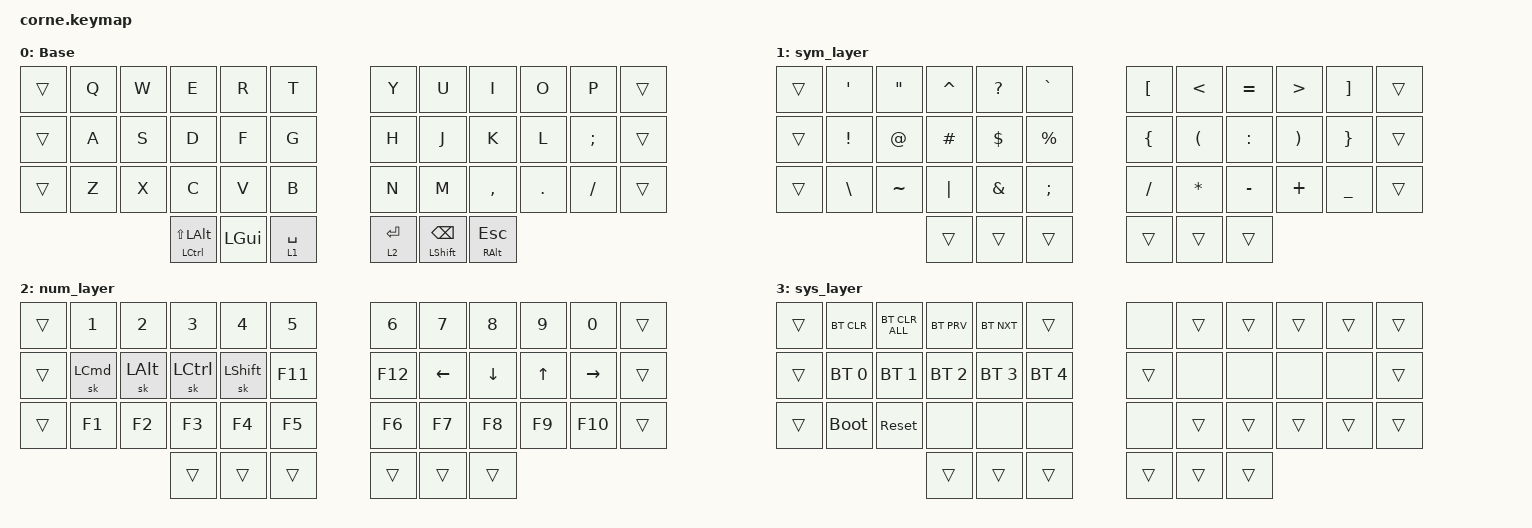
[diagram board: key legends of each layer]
/*
 * Copyright (c) 2020 The ZMK Contributors
 *
 * SPDX-License-Identifier: MIT
 */

#include <behaviors.dtsi>
#include <dt-bindings/zmk/bt.h>
#include <dt-bindings/zmk/keys.h>

/ {
    combos {
        compatible = "zmk,combos";

        system_layer_combo {
            bindings = <&mo 3>;
            key-positions = <36 37 38>;
        };
    };

    conditional_layers { compatible = "zmk,conditional-layers"; };

    keymap {
        compatible = "zmk,keymap";

        Base {
            bindings = <
&trans  &kp Q  &kp W  &kp E                          &kp R         &kp T          &kp Y        &kp U                     &kp I              &kp O    &kp P     &trans
&trans  &kp A  &kp S  &kp D                          &kp F         &kp G          &kp H        &kp J                     &kp K              &kp L    &kp SEMI  &trans
&trans  &kp Z  &kp X  &kp C                          &kp V         &kp B          &kp N        &kp M                     &kp COMMA          &kp DOT  &kp FSLH  &trans
                      &mt LEFT_CONTROL LS(LEFT_ALT)  &kp LEFT_GUI  &lt 1 SPACE    &lt 2 ENTER  &mt LEFT_SHIFT BACKSPACE  &mt RIGHT_ALT ESC
            >;
        };

        sym_layer {
            bindings = <
&trans  &kp SQT          &kp DQT      &kp CARET  &kp QUESTION  &kp GRAVE      &kp LBKT        &kp LESS_THAN         &kp EQUAL  &kp GREATER_THAN       &kp RBKT         &trans
&trans  &kp EXCLAMATION  &kp AT_SIGN  &kp POUND  &kp DOLLAR    &kp PERCENT    &kp LEFT_BRACE  &kp LEFT_PARENTHESIS  &kp COLON  &kp RIGHT_PARENTHESIS  &kp RIGHT_BRACE  &trans
&trans  &kp BSLH         &kp TILDE    &kp PIPE   &kp AMPS      &kp SEMI       &kp SLASH       &kp ASTERISK          &kp MINUS  &kp PLUS               &kp UNDERSCORE   &trans
                                      &trans     &trans        &trans         &trans          &trans                &trans
            >;
        };

        num_layer {
            bindings = <
&trans  &kp N1            &kp N2        &kp N3            &kp N4          &kp N5     &kp N6   &kp N7          &kp N8          &kp N9        &kp N0           &trans
&trans  &sk LEFT_COMMAND  &sk LEFT_ALT  &sk LEFT_CONTROL  &sk LEFT_SHIFT  &kp F11    &kp F12  &kp LEFT_ARROW  &kp DOWN_ARROW  &kp UP_ARROW  &kp RIGHT_ARROW  &trans
&trans  &kp F1            &kp F2        &kp F3            &kp F4          &kp F5     &kp F6   &kp F7          &kp F8          &kp F9        &kp F10          &trans
                                        &trans            &trans          &trans     &trans   &trans          &trans
            >;
        };

        sys_layer {
            bindings = <
&trans  &bt BT_CLR    &bt BT_CLR_ALL  &bt BT_PRV    &bt BT_NXT    &trans          &none   &trans  &trans  &trans  &trans  &trans
&trans  &bt BT_SEL 0  &bt BT_SEL 1    &bt BT_SEL 2  &bt BT_SEL 3  &bt BT_SEL 4    &trans  &none   &none   &none   &none   &trans
&trans  &bootloader   &sys_reset      &none         &none         &none           &none   &trans  &trans  &trans  &trans  &trans
                                      &trans        &trans        &trans          &trans  &trans  &trans
            >;
        };
    };
};
